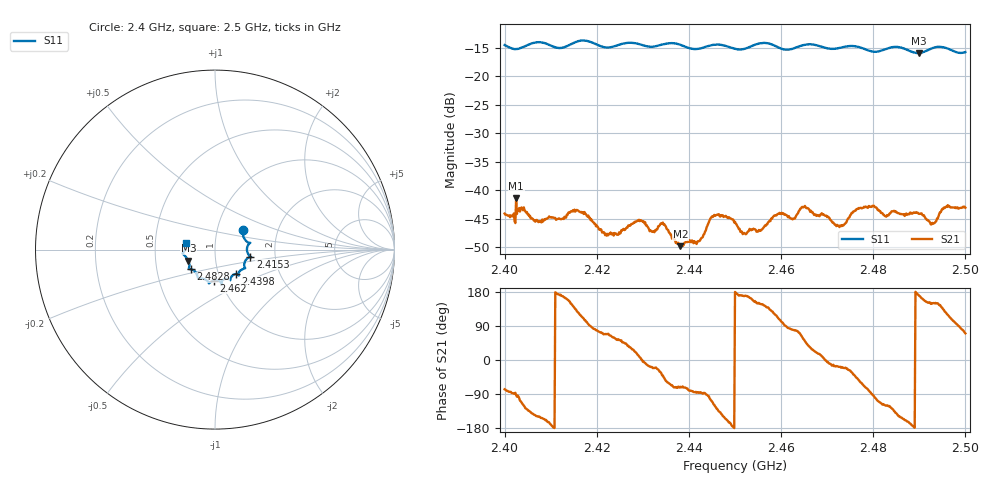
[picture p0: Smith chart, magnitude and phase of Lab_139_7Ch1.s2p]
# Hz S RI R 50
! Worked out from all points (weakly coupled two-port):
!   601 points, 2.4 GHz to 2.5 GHz, reference 50 ohm
!   highest |S21| = -41.45 dB at 2.4025 GHz (marker M1); lowest = -49.9 dB at 2.4382 GHz (marker M2)
!   lowest |S11| = -15.9 dB at 2.4898 GHz (marker M3), VSWR 1.38, Z = 36.8 - j4.63 ohm
!   |S11| at or under -10 dB: start of sweep to end of sweep
!   S12 and S22 are empty: the file has one direction only
!   S11 on the Smith chart (normalised r, x): 2.4 GHz: 1.33, +0.30; 2.4153 GHz: 1.48, -0.12; 2.4398 GHz: 1.21, -0.34; 2.462 GHz: 0.93, -0.33; 2.4828 GHz: 0.74, -0.17; 2.5 GHz: 0.72, +0.06
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2.4e9  0.1554 0.1073  0.00137 -0.00606  0 0  0 0
2.4025e9  0.161 0.067  -0.000397 -0.00845  0 0  0 0
2.415333e9  0.1962 -0.0385  -0.00452 0.00463  0 0  0 0
2.416667e9  0.2025 -0.0425  -0.00274 0.00582  0 0  0 0
2.422167e9  0.1671 -0.0661  0.0015 0.00368  0 0  0 0
2.433333e9  0.1305 -0.1336  0.00436 -0.00203  0 0  0 0
2.438167e9  0.1284 -0.1395  0.00107 -0.00303  0 0  0 0
2.439833e9  0.1158 -0.136  0.000694 -0.00351  0 0  0 0
2.442167e9  0.0944 -0.1476  0.000198 -0.00355  0 0  0 0
2.4455e9  0.0846 -0.1701  -0.00287 -0.00532  0 0  0 0
2.45e9  0.0651 -0.1625  -0.00526 3.59e-05  0 0  0 0
2.452167e9  0.0429 -0.17  -0.00407 0.000764  0 0  0 0
2.462e9  -0.00476 -0.1729  0.00077 0.00563  0 0  0 0
2.466667e9  -0.0343 -0.1882  0.00563 0.00298  0 0  0 0
2.4725e9  -0.0752 -0.1605  0.00462 -0.00151  0 0  0 0
2.476833e9  -0.0959 -0.1543  0.00425 -0.00551  0 0  0 0
2.482833e9  -0.1363 -0.1095  -0.00296 -0.00503  0 0  0 0
2.483333e9  -0.1402 -0.1093  -0.0032 -0.00507  0 0  0 0
2.489833e9  -0.1484 -0.0613  -0.00613 0.000899  0 0  0 0
2.492833e9  -0.175 -0.0279  -0.00442 0.00264  0 0  0 0
2.495667e9  -0.1778 -0.0169  -0.00418 0.00569  0 0  0 0
2.5e9  -0.1591 0.0389  0.00236 0.0066  0 0  0 0
